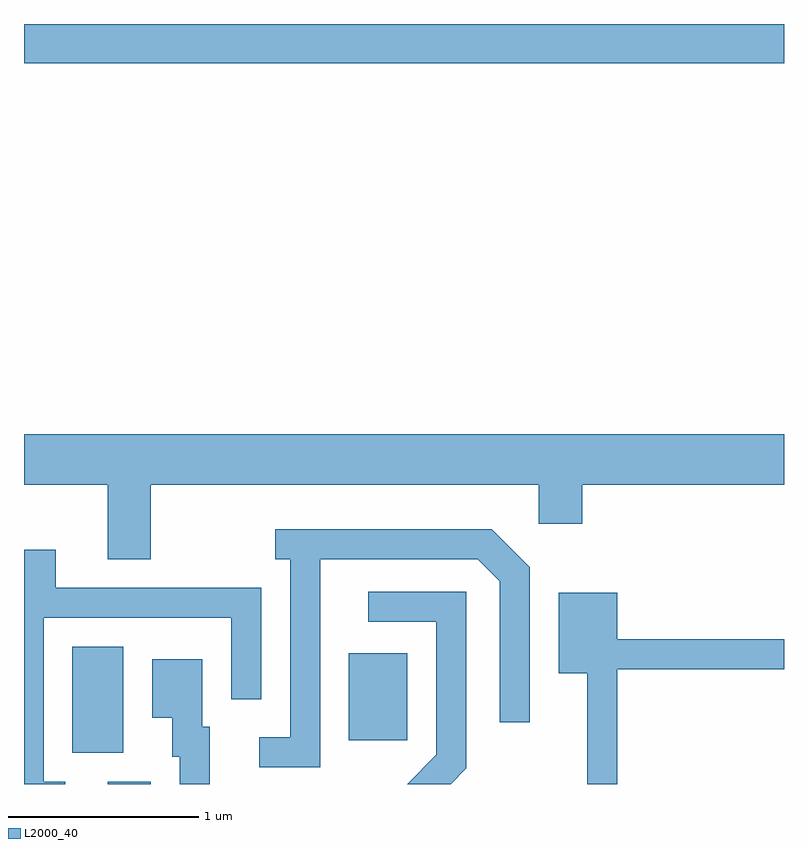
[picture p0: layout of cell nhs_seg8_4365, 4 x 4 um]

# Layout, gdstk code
import gdstk
lib = gdstk.Library(unit=1e-6, precision=1e-09)
def R(c, l, rs):  # rectangles x0, y0, x1, y1
    for r in rs: c.add(gdstk.rectangle(r[:2], r[2:], *l))
def P(c, l, *ps):  # polygons
    for p in ps: c.add(gdstk.Polygon(p, *l))
L2000_40 = (2000, 40)

nhs_seg8_4365 = lib.new_cell('nhs_seg8_4365')
R(nhs_seg8_4365, L2000_40, [(316.051,1890.342,316.279,1890.354), (315.866,1890.506,316.134,1891.064), (317.321,1890.571,317.629,1891.029), (315.611,1894.136,319.611,1894.342)])
P(nhs_seg8_4365, L2000_40, [(316.279,1891.916),(318.321,1891.916),(318.321,1891.711),(318.549,1891.711),(318.549,1891.916),(319.611,1891.916),(319.611,1892.184),(315.611,1892.184),(315.611,1891.916),(316.051,1891.916),(316.051,1891.526),(316.279,1891.526)],
  [(317.169,1891.526),(317.999,1891.526),(318.116,1891.409),(318.116,1890.668),(318.274,1890.668),(318.274,1891.482),(318.072,1891.684),(316.933,1891.684),(316.933,1891.526),(317.011,1891.526),(317.011,1890.589),(316.848,1890.589),(316.848,1890.431),(317.169,1890.431)],
  [(315.828,1890.354),(315.714,1890.354),(315.714,1891.216),(316.701,1891.216),(316.701,1890.788),(316.859,1890.788),(316.859,1891.374),(315.779,1891.374),(315.779,1891.574),(315.611,1891.574),(315.611,1890.342),(315.828,1890.342)],
  [(317.939,1890.424),(317.939,1891.354),(317.423,1891.354),(317.423,1891.196),(317.781,1891.196),(317.781,1890.497),(317.627,1890.342),(317.857,1890.342)],
  [(318.734,1890.946),(319.611,1890.946),(319.611,1891.104),(318.734,1891.104),(318.734,1891.349),(318.426,1891.349),(318.426,1890.926),(318.576,1890.926),(318.576,1890.342),(318.734,1890.342)],
  [(316.589,1890.644),(316.549,1890.644),(316.549,1890.999),(316.286,1890.999),(316.286,1890.691),(316.391,1890.691),(316.391,1890.486),(316.431,1890.486),(316.431,1890.342),(316.589,1890.342)])

lib.write_gds('nhs_seg8_4365.gds')
